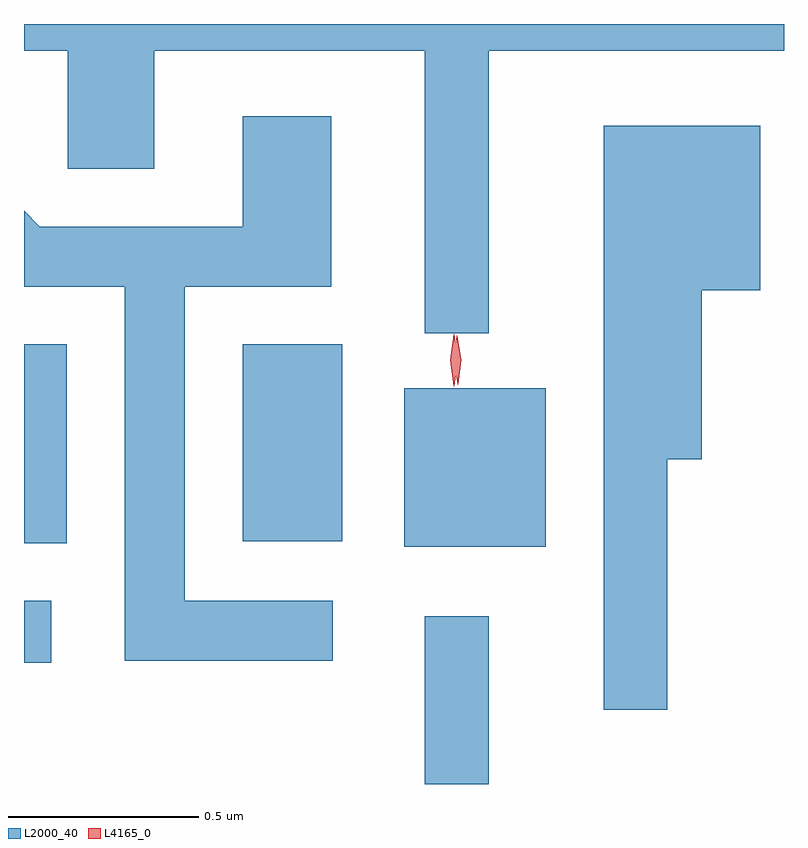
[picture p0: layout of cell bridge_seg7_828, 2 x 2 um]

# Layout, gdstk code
import gdstk
lib = gdstk.Library(unit=1e-6, precision=1e-09)
def R(c, l, rs):  # rectangles x0, y0, x1, y1
    for r in rs: c.add(gdstk.rectangle(r[:2], r[2:], *l))
def P(c, l, *ps):  # polygons
    for p in ps: c.add(gdstk.Polygon(p, *l))
L2000_40 = (2000, 40)
L4165_0 = (4165, 0)

bridge_seg7_828 = lib.new_cell('bridge_seg7_828')
R(bridge_seg7_828, L2000_40, [(330.421,1752.347,330.589,1752.788), (329.366,1752.666,329.438,1752.829), (330.366,1752.971,330.739,1753.389), (329.366,1752.981,329.479,1753.504), (329.941,1752.986,330.204,1753.504)])
P(bridge_seg7_828, L2000_40, [(330.589,1754.276),(331.366,1754.276),(331.366,1754.347),(329.366,1754.347),(329.366,1754.276),(329.481,1754.276),(329.481,1753.966),(329.709,1753.966),(329.709,1754.276),(330.421,1754.276),(330.421,1753.533),(330.589,1753.533)],
  [(330.178,1752.829),(329.789,1752.829),(329.789,1753.656),(330.174,1753.656),(330.174,1754.104),(329.941,1754.104),(329.941,1753.814),(329.407,1753.814),(329.366,1753.855),(329.366,1753.656),(329.631,1753.656),(329.631,1752.671),(330.178,1752.671)],
  [(331.059,1753.201),(331.149,1753.201),(331.149,1753.646),(331.304,1753.646),(331.304,1754.079),(330.891,1754.079),(330.891,1752.543),(331.059,1752.543)])
P(bridge_seg7_828, L4165_0, [(330.508,1753.398),(330.508,1753.399),(330.497,1753.462),(330.505,1753.526),(330.506,1753.527),(330.506,1753.526),(330.517,1753.463),(330.509,1753.399)],
  [(330.497,1753.394),(330.497,1753.394),(330.488,1753.462),(330.497,1753.53),(330.498,1753.53),(330.498,1753.53),(330.507,1753.462),(330.498,1753.394)])

lib.write_gds('bridge_seg7_828.gds')
